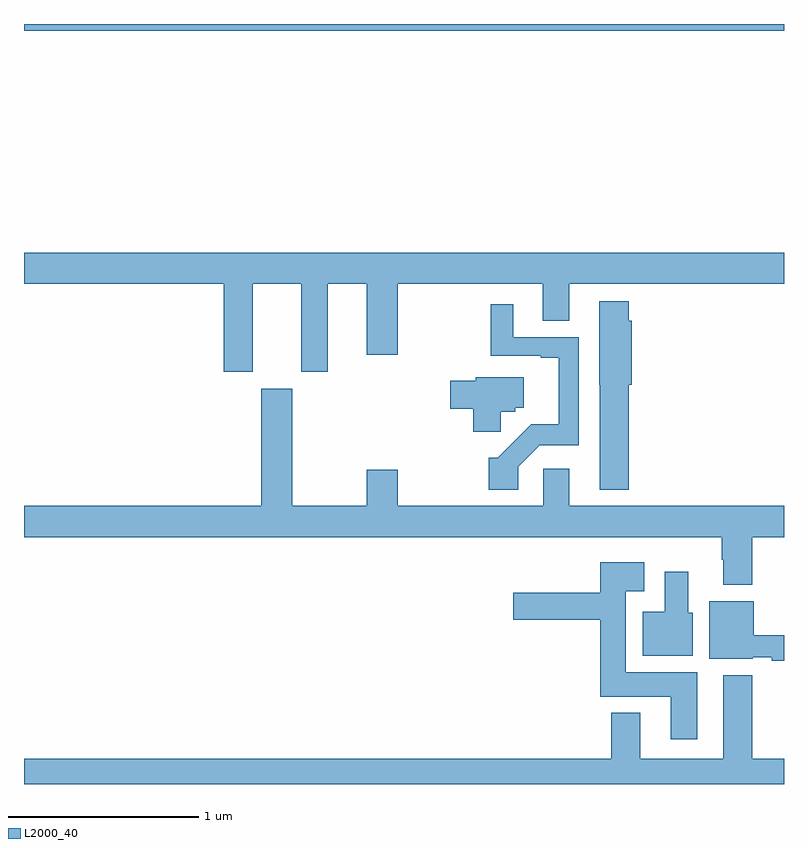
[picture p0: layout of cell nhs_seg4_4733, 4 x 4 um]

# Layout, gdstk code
import gdstk
lib = gdstk.Library(unit=1e-6, precision=1e-09)
def R(c, l, rs):  # rectangles x0, y0, x1, y1
    for r in rs: c.add(gdstk.rectangle(r[:2], r[2:], *l))
def P(c, l, *ps):  # polygons
    for p in ps: c.add(gdstk.Polygon(p, *l))
L2000_40 = (2000, 40)

nhs_seg4_4733 = lib.new_cell('nhs_seg4_4733')
R(nhs_seg4_4733, L2000_40, [(367,752.864,371,752.9)])
P(nhs_seg4_4733, L2000_40, [(368.203,751.532),(368.459,751.532),(368.459,751.071),(368.599,751.071),(368.599,751.532),(368.804,751.532),(368.804,751.158),(368.968,751.158),(368.968,751.532),(369.731,751.532),(369.731,751.338),(369.871,751.338),(369.871,751.532),(371,751.532),(371,751.696),(367,751.696),(367,751.532),(368.051,751.532),(368.051,751.071),(368.203,751.071)],
  [(370.184,751.002),(370.199,751.002),(370.199,751.338),(370.184,751.338),(370.184,751.441),(370.028,751.441),(370.028,751.002),(370.031,751.002),(370.031,750.449),(370.184,750.449)],
  [(369.6,750.57),(369.714,750.684),(369.919,750.684),(369.919,751.251),(369.574,751.251),(369.574,751.426),(369.457,751.426),(369.457,751.155),(369.719,751.155),(369.719,751.143),(369.815,751.143),(369.815,750.794),(369.671,750.794),(369.493,750.616),(369.445,750.616),(369.445,750.45),(369.6,750.45)],
  [(369.509,750.858),(369.585,750.858),(369.585,750.881),(369.631,750.881),(369.631,751.042),(369.377,751.042),(369.377,751.022),(369.243,751.022),(369.243,750.875),(369.365,750.875),(369.365,750.753),(369.509,750.753)],
  [(370.832,750.2),(371,750.2),(371,750.364),(369.871,750.364),(369.871,750.559),(369.732,750.559),(369.732,750.364),(368.968,750.364),(368.968,750.553),(368.804,750.553),(368.804,750.364),(368.413,750.364),(368.413,750.979),(368.249,750.979),(368.249,750.364),(367,750.364),(367,750.2),(370.672,750.2),(370.672,750.08),(370.679,750.08),(370.679,749.948),(370.832,749.948)],
  [(370.543,749.488),(370.168,749.488),(370.168,749.915),(370.264,749.915),(370.264,750.067),(370.034,750.067),(370.034,749.907),(369.576,749.907),(369.576,749.765),(370.034,749.765),(370.034,749.36),(370.403,749.36),(370.403,749.136),(370.543,749.136)],
  [(370.519,749.802),(370.495,749.802),(370.495,750.016),(370.373,750.016),(370.373,749.806),(370.256,749.806),(370.256,749.576),(370.519,749.576)],
  [(371,749.684),(370.84,749.684),(370.84,749.863),(370.607,749.863),(370.607,749.558),(370.836,749.558),(370.836,749.568),(370.936,749.568),(370.936,749.548),(371,749.548)],
  [(367,748.9),(371,748.9),(371,749.032),(370.832,749.032),(370.832,749.473),(370.679,749.473),(370.679,749.032),(370.243,749.032),(370.243,749.275),(370.091,749.275),(370.091,749.032),(367,749.032)])

lib.write_gds('nhs_seg4_4733.gds')
